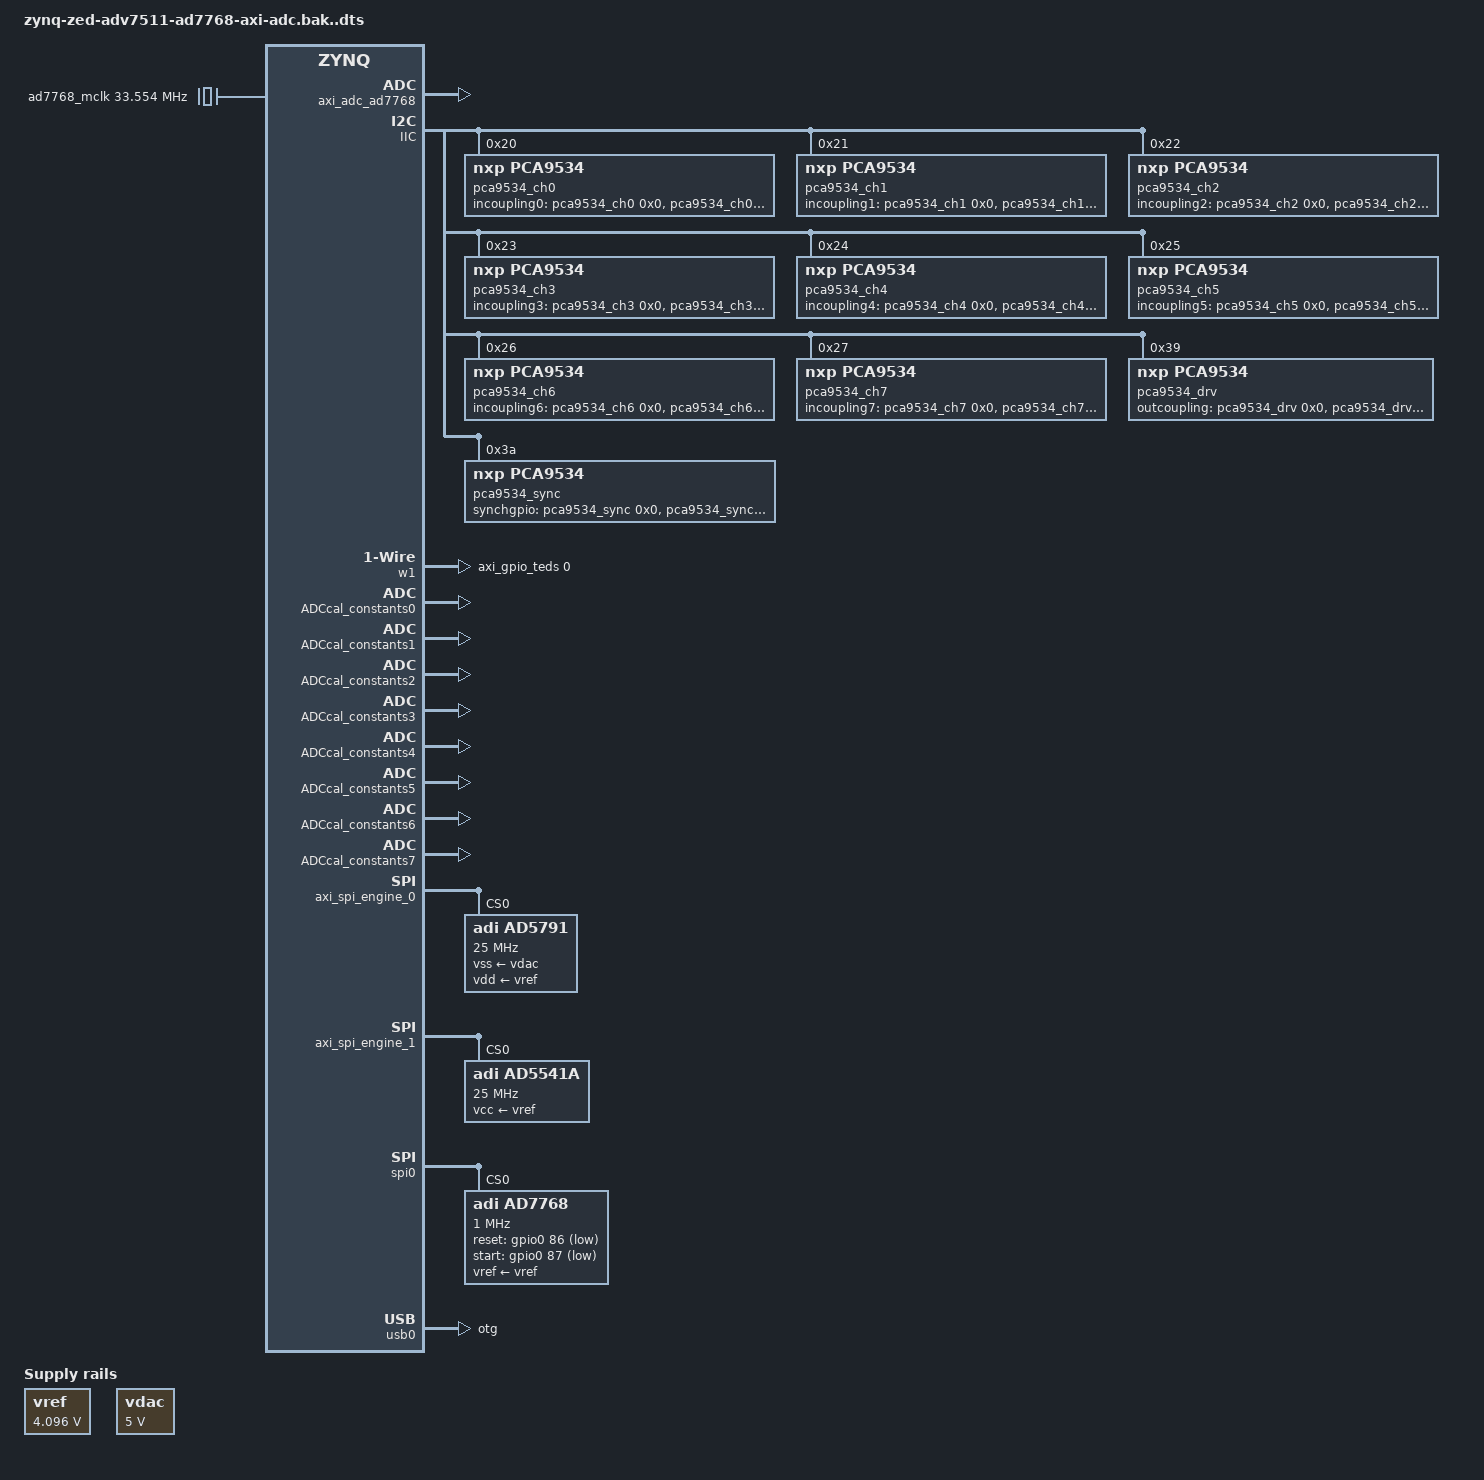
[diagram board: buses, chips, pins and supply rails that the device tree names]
// SPDX-License-Identifier: GPL-2.0
/*
 * Analog Devices AD7768
 * https://wiki.analog.com/resources/tools-software/linux-drivers/iio-adc/ad7768
 *
 * hdl_project: <ad7768evb/zed>
 * board_revision: <>
 *
 * Copyright (C) 2020 Analog Devices Inc.
 */
/dts-v1/;

#include "zynq-zed.dtsi"
#include "zynq-zed-adv7511.dtsi"
#include <dt-bindings/gpio/gpio.h>

/ {
	vref: regulator-vref {
		compatible = "regulator-fixed";
		regulator-name = "fixed-supply";
		regulator-min-microvolt = <4096000>;
		regulator-max-microvolt = <4096000>;
		regulator-always-on;
	};
	
	vdac: regulator-vdac {
		compatible = "regulator-fixed";
		regulator-name = "dac-supply";
		regulator-min-microvolt = <5000000>;
		regulator-max-microvolt = <5000000>;
		regulator-always-on;
	};

	clocks {
		ad7768_mclk: clock@0 {
			#clock-cells = <0>;
			compatible = "fixed-clock";
			clock-frequency = <33554432>;
		};
	};
};

&fpga_axi {
	rx_dma: rx-dmac@0x7c480000 {
		compatible = "adi,axi-dmac-1.00.a";
		reg = <0x7c480000 0x10000>;
		#dma-cells = <1>;
		interrupts = <0 54 IRQ_TYPE_LEVEL_HIGH>;
		clocks = <&clkc 16>;

		adi,channels {
			#size-cells = <0>;
			#address-cells = <1>;

			dma-channel@0 {
				reg = <0>;
				adi,source-bus-width = <512>;
				adi,source-bus-type = <2>;
				adi,destination-bus-width = <64>;
				adi,destination-bus-type = <0>;
			};
		};
	};
	
	tx_dma: tx-dmac@42200000 {
		compatible = "adi,axi-dmac-1.00.a";
		reg = <0x42200000 0x40000>;
		#dma-cells = <1>;
		interrupts = <0 53 IRQ_TYPE_LEVEL_HIGH>;
		clocks = <&clkc 15>;
		adi,channels {
			#size-cells = <0>;
			#address-cells = <1>;

			dma-channel@0 {
				reg = <0>;
				adi,source-bus-width = <64>;
				adi,source-bus-type = <0>;
				adi,destination-bus-width = <32>;
				adi,destination-bus-type = <2>;
		//		adi,cyclic;
			};
		};
	};
	
	cola_dma: cola-dmac@44a30000 {
		compatible = "adi,axi-dmac-1.00.a";
		reg = <0x44a30000 0x10000>;
		#dma-cells = <1>;
		interrupts = <0 36 IRQ_TYPE_LEVEL_HIGH>;
		clocks = <&clkc 15>;
		adi,channels {
			#size-cells = <0>;
			#address-cells = <1>;

			dma-channel@0 {
				reg = <0>;
				adi,source-bus-width = <64>;
				adi,source-bus-type = <0>;
				adi,destination-bus-width = <32>;
				adi,destination-bus-type = <2>;
		//		adi,cyclic;
			};
		};
	};

	axi_adc_ad7768: cf_axi_adc@43c00000 {
		compatible = "adi,axi-adc-10.0.a";
		reg = <0x43c00000 0x10000>;
		dmas = <&rx_dma 0>;
		dma-names = "rx";
		spibus-connected = <&ad7768>;
	};
	
	IIC: i2c@40800000 {
		#address-cells = <1>;
		#size-cells = <0>;
		compatible = "xlnx,xps-iic-2.00.a";
		clocks = <&clkc 15>;
		reg = <0x40800000 0x10000>;
		interrupt-parent = <&intc>;
		interrupts = <0 34 IRQ_TYPE_LEVEL_HIGH>;		
		pca9534_ch0: pca9534@20 {
			compatible = "nxp,pca9534";
			reg = <0x20>;
			gpio-controller;
			#gpio-cells = <2>;	
			incoupling0-gpios = <&pca9534_ch0 0x0 GPIO_ACTIVE_HIGH>,
								<&pca9534_ch0 0x1 GPIO_ACTIVE_HIGH>,
								<&pca9534_ch0 0x2 GPIO_ACTIVE_HIGH>,
								<&pca9534_ch0 0x3 GPIO_ACTIVE_HIGH>,
								<&pca9534_ch0 0x4 GPIO_ACTIVE_HIGH>;			
		};
		pca9534_ch1: pca9534@21 {
			compatible = "nxp,pca9534";
			gpio-controller;
			reg = <0x21>;
			#gpio-cells = <2>;		
			incoupling1-gpios = <&pca9534_ch1 0x0 GPIO_ACTIVE_HIGH>,
								<&pca9534_ch1 0x1 GPIO_ACTIVE_HIGH>,
								<&pca9534_ch1 0x2 GPIO_ACTIVE_HIGH>,
								<&pca9534_ch1 0x3 GPIO_ACTIVE_HIGH>,
								<&pca9534_ch1 0x4 GPIO_ACTIVE_HIGH>;
		};
		pca9534_ch2: pca9534@22 {
			compatible = "nxp,pca9534";
			reg = <0x22>;
			gpio-controller;
			#gpio-cells = <2>;	
			incoupling2-gpios = <&pca9534_ch2 0x0 GPIO_ACTIVE_HIGH>,
								<&pca9534_ch2 0x1 GPIO_ACTIVE_HIGH>,
								<&pca9534_ch2 0x2 GPIO_ACTIVE_HIGH>,
								<&pca9534_ch2 0x3 GPIO_ACTIVE_HIGH>,
								<&pca9534_ch2 0x4 GPIO_ACTIVE_HIGH>;			
		};
		pca9534_ch3: pca9534@23 {
			compatible = "nxp,pca9534";
			gpio-controller;
			reg = <0x23>;
			#gpio-cells = <2>;		
			incoupling3-gpios = <&pca9534_ch3 0x0 GPIO_ACTIVE_HIGH>,
								<&pca9534_ch3 0x1 GPIO_ACTIVE_HIGH>,
								<&pca9534_ch3 0x2 GPIO_ACTIVE_HIGH>,
								<&pca9534_ch3 0x3 GPIO_ACTIVE_HIGH>,
								<&pca9534_ch3 0x4 GPIO_ACTIVE_HIGH>;
		};
		pca9534_ch4: pca9534@24 {
			compatible = "nxp,pca9534";
			reg = <0x24>;
			gpio-controller;
			#gpio-cells = <2>;	
			incoupling4-gpios = <&pca9534_ch4 0x0 GPIO_ACTIVE_HIGH>,
								<&pca9534_ch4 0x1 GPIO_ACTIVE_HIGH>,
								<&pca9534_ch4 0x2 GPIO_ACTIVE_HIGH>,
								<&pca9534_ch4 0x3 GPIO_ACTIVE_HIGH>,
								<&pca9534_ch4 0x4 GPIO_ACTIVE_HIGH>;			
		};
		pca9534_ch5: pca9534@25 {
			compatible = "nxp,pca9534";
			gpio-controller;
			reg = <0x25>;
			#gpio-cells = <2>;		
			incoupling5-gpios = <&pca9534_ch5 0x0 GPIO_ACTIVE_HIGH>,
								<&pca9534_ch5 0x1 GPIO_ACTIVE_HIGH>,
								<&pca9534_ch5 0x2 GPIO_ACTIVE_HIGH>,
								<&pca9534_ch5 0x3 GPIO_ACTIVE_HIGH>,
								<&pca9534_ch5 0x4 GPIO_ACTIVE_HIGH>;
		};
		pca9534_ch6: pca9534@26 {
			compatible = "nxp,pca9534";
			reg = <0x26>;
			gpio-controller;
			#gpio-cells = <2>;	
			incoupling6-gpios = <&pca9534_ch6 0x0 GPIO_ACTIVE_HIGH>,
								<&pca9534_ch6 0x1 GPIO_ACTIVE_HIGH>,
								<&pca9534_ch6 0x2 GPIO_ACTIVE_HIGH>,
								<&pca9534_ch6 0x3 GPIO_ACTIVE_HIGH>,
								<&pca9534_ch6 0x4 GPIO_ACTIVE_HIGH>;			
		};
		pca9534_ch7: pca9534@27 {
			compatible = "nxp,pca9534";
			gpio-controller;
			reg = <0x27>;
			#gpio-cells = <2>;		
			incoupling7-gpios = <&pca9534_ch7 0x0 GPIO_ACTIVE_HIGH>,
								<&pca9534_ch7 0x1 GPIO_ACTIVE_HIGH>,
								<&pca9534_ch7 0x2 GPIO_ACTIVE_HIGH>,
								<&pca9534_ch7 0x3 GPIO_ACTIVE_HIGH>,
								<&pca9534_ch7 0x4 GPIO_ACTIVE_HIGH>;
		};
		pca9534_drv: pca9534@39 {
			compatible = "nxp,pca9534";			
			reg = <0x39>;
			gpio-controller;
			#gpio-cells = <2>;			
			outcoupling-gpios = <&pca9534_drv 0x0 GPIO_ACTIVE_HIGH>,
								<&pca9534_drv 0x1 GPIO_ACTIVE_HIGH>,
								<&pca9534_drv 0x2 GPIO_ACTIVE_HIGH>,
								<&pca9534_drv 0x3 GPIO_ACTIVE_HIGH>,
								<&pca9534_drv 0x4 GPIO_ACTIVE_HIGH>,
								<&pca9534_drv 0x5 GPIO_ACTIVE_HIGH>;									
		};
		pca9534_sync: pca9534@3a {
			compatible = "nxp,pca9534";			
			reg = <0x3a>;
			gpio-controller;
			#gpio-cells = <2>;	
			synchgpio-gpios = <&pca9534_sync 0x0 GPIO_ACTIVE_HIGH>,
								<&pca9534_sync 0x1 GPIO_ACTIVE_HIGH>,
								<&pca9534_sync 0x2 GPIO_ACTIVE_HIGH>,
								<&pca9534_sync 0x3 GPIO_ACTIVE_HIGH>,
								<&pca9534_sync 0x4 GPIO_ACTIVE_HIGH>,
								<&pca9534_sync 0x5 GPIO_ACTIVE_HIGH>,
								<&pca9534_sync 0x6 GPIO_ACTIVE_HIGH>;
							/*	<&pca9534_sync 0x7 GPIO_ACTIVE_HIGH>;		for now	*/			
		};
	};	
	
	axi_gpio_teds: gpio@40090000 {
		#gpio-cells = <2>;
		clock-names = "s_axi_aclk";
		clocks = <&clkc 15>;
		compatible = "xlnx,xps-gpio-1.00.a";
		gpio-controller;
		reg = <0x40090000 0x10000>;
		xlnx,all-inputs = <0x0>;
		xlnx,all-outputs = <0x0>;
		xlnx,dout-default = <0x0>;
		xlnx,gpio-width = <0x1>;
		xlnx,interrupt-present = <0x0>;
		xlnx,is-dual = <0x0>;
		xlnx,tri-default = <0x0>;
		
	};
	w1: onewire@0 {
			compatible = "w1-gpio";
			gpios = <&axi_gpio_teds 0 0x0>;
		/*	linux,open-drain;*/
			status = "okay";
		};	
		
	DriveScale_1: DriveScale@40000000 {
	 	/* This is a place holder node for a custom IP, user may need to update the entries */
		clock-names = "ap_clk";
		clocks = <&clkc 15>;
		compatible = "dmem-uio";
		reg = <0x40000000 0x10000>;
		xlnx,s-axi-control-addr-width = <0x6>;
		xlnx,s-axi-control-data-width = <0x20>;
	};
	
	ADCcal_constants0: adccal_constants@40010000 {
	 	/* channel 1 adc cal factors */
		clock-names = "ap_clk";
		clocks = <&clkc 16>;
		compatible = "dmem-uio";
		reg = <0x40010000 0x10000>;
		xlnx,s-axi-control-addr-width = <0x8>;
		xlnx,s-axi-control-data-width = <0x20>;
	};
	
	ADCcal_constants1: adccal_constants@40020000 {
	 	/* channel 2 adc cal factors */
		clock-names = "ap_clk";
		clocks = <&clkc 16>;
		compatible = "dmem-uio";
		reg = <0x40020000 0x10000>;
		xlnx,s-axi-control-addr-width = <0x8>;
		xlnx,s-axi-control-data-width = <0x20>;
	};
	
	ADCcal_constants2: adccal_constants@40030000 {
	 	/* channel 3 adc cal factors */
		clock-names = "ap_clk";
		clocks = <&clkc 16>;
		compatible = "dmem-uio";
		reg = <0x40030000 0x10000>;
		xlnx,s-axi-control-addr-width = <0x8>;
		xlnx,s-axi-control-data-width = <0x20>;
	};
	
	ADCcal_constants3: adccal_constants@40040000 {
	 	/* channel 4 adc cal factors */
		clock-names = "ap_clk";
		clocks = <&clkc 16>;
		compatible = "dmem-uio";
		reg = <0x40040000 0x10000>;
		xlnx,s-axi-control-addr-width = <0x8>;
		xlnx,s-axi-control-data-width = <0x20>;
	};
	
	ADCcal_constants4: adccal_constants@40050000 {
	 	/* channel 5 adc cal factors */
		clock-names = "ap_clk";
		clocks = <&clkc 16>;
		compatible = "dmem-uio";
		reg = <0x40050000 0x10000>;
		xlnx,s-axi-control-addr-width = <0x8>;
		xlnx,s-axi-control-data-width = <0x20>;
	};
	
	ADCcal_constants5: adccal_constants@40060000 {
	 	/* channel 6 adc cal factors */
		clock-names = "ap_clk";
		clocks = <&clkc 16>;
		compatible = "dmem-uio";
		reg = <0x40060000 0x10000>;
		xlnx,s-axi-control-addr-width = <0x8>;
		xlnx,s-axi-control-data-width = <0x20>;
	};
	
	ADCcal_constants6: adccal_constants@40070000 {
	 	/* channel 7 adc cal factors */
		clock-names = "ap_clk";
		clocks = <&clkc 16>;
		compatible = "dmem-uio";
		reg = <0x40070000 0x10000>;
		xlnx,s-axi-control-addr-width = <0x8>;
		xlnx,s-axi-control-data-width = <0x20>;
	};
	
	ADCcal_constants7: adccal_constants@40080000 {
	 	/* channel 8 adc cal factors */
		clock-names = "ap_clk";
		clocks = <&clkc 16>;
		compatible = "dmem-uio";
		reg = <0x40080000 0x10000>;
		xlnx,s-axi-control-addr-width = <0x8>;
		xlnx,s-axi-control-data-width = <0x20>;
	};
	
	Synch0: Synch@400a0000 {
	 	/* This is a place holder node for a custom IP, user may need to update the entries */
		clock-names = "ap_clk";
		clocks = <&clkc 15>;
		compatible = "dmem-uio";
		reg = <0x400a0000 0x10000>;
		xlnx,s-axi-control-addr-width = <0x6>;
		xlnx,s-axi-control-data-width = <0x20>;
	};
	
	axi_spi_engine_0: spi@42000000 {
		compatible = "adi,axi-spi-engine-1.00.a";
		reg = <0x42000000 0x40000>;
		interrupt-parent = <&intc>;
		interrupts = <0 52 IRQ_TYPE_LEVEL_HIGH>;
		clocks = <&clkc 15 &clkc 15>;
		clock-names = "s_axi_aclk", "spi_clk";
		num-cs = <1>;

		#address-cells = <0x1>;
		#size-cells = <0x0>;
		ad5791: dac@0 {
			compatible = "adi,ad5791";
			reg = <0>;
			spi-max-frequency = <25000000>;
	//		spi-cpha;
			spi-cpol;
			vss-supply = <&vdac>; /* probably needs to be vdac 5.0V */
			vdd-supply = <&vref>;	
			dmas = <&tx_dma 0>;
			dma-names = "tx";	
		
		};		
	};
	
	axi_spi_engine_1: spi@44a40000 {
		compatible = "adi,axi-spi-engine-1.00.a";
		reg = <0x44a40000 0x10000>;
		interrupt-parent = <&intc>;
		interrupts = <0 35 IRQ_TYPE_LEVEL_HIGH>;
		clocks = <&clkc 15 &clkc 15>;
		clock-names = "s_axi_aclk", "spi_clk";
		num-cs = <1>;

		#address-cells = <0x1>;
		#size-cells = <0x0>;	
		
		ad5541a: cola@0 {
			compatible = "adi,ad5541a";
			reg = <0>;
			spi-max-frequency = <25000000>;
			spi-cpha;
			spi-cpol;
			vcc-supply = <&vref>;	
			dmas = <&cola_dma 0>;
			dma-names = "tx";		
		};
	};
};

&spi0 {
	status = "okay";

	ad7768: adc@0 {
		compatible = "adi,ad7768";
		reg = <0>;
		spi-max-frequency = <1000000>;

		vref-supply = <&vref>;
		reset-gpios = <&gpio0 86 GPIO_ACTIVE_LOW>;
		start-gpios = <&gpio0 87 GPIO_ACTIVE_LOW>;
		clocks = <&ad7768_mclk>;
		clock-names = "mclk";
		adi,data-lines = <8>;		
	};
};

&usb0 {
	dr_mode = "otg";
};
